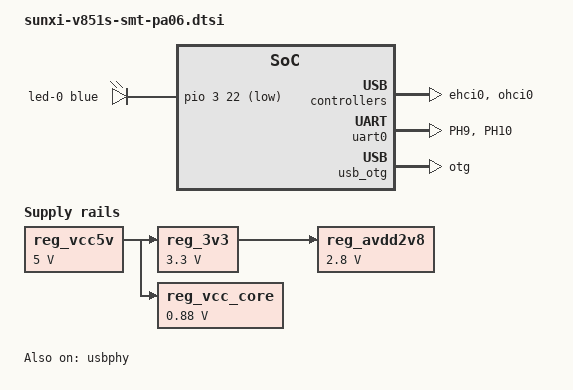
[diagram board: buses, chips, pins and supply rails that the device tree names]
// SPDX-License-Identifier: (GPL-2.0+ OR MIT)
// Copyright (C) 2022 Arm Ltd.
/*
 * Common peripherals and configurations for MangoPi MQ-R boards.
 */

#include <dt-bindings/gpio/gpio.h>
#include <dt-bindings/leds/common.h>

/ {
	aliases {
		serial0 = &uart0;
	};

	chosen {
		stdout-path = "serial0:115200n8";
	};

	leds {
		compatible = "gpio-leds";

		led-0 {
			color = <LED_COLOR_ID_BLUE>;
			function = LED_FUNCTION_STATUS;
			gpios = <&pio 3 22 GPIO_ACTIVE_LOW>; /* PD22 */
		};
	};

	/* board wide 5V supply directly from the USB-C socket */
	reg_vcc5v: regulator-5v {
		compatible = "regulator-fixed";
		regulator-name = "vcc-5v";
		regulator-min-microvolt = <5000000>;
		regulator-max-microvolt = <5000000>;
		regulator-always-on;
	};

	/* SY8008 DC/DC regulator on the board */
	reg_3v3: regulator-3v3 {
		compatible = "regulator-fixed";
		regulator-name = "vcc-3v3";
		regulator-min-microvolt = <3300000>;
		regulator-max-microvolt = <3300000>;
		vin-supply = <&reg_vcc5v>;
	};

	/* SY8008 DC/DC regulator on the board, also supplying VDD-SYS */
	reg_vcc_core: regulator-core {
		compatible = "regulator-fixed";
		regulator-name = "vcc-core";
		regulator-min-microvolt = <880000>;
		regulator-max-microvolt = <880000>;
		vin-supply = <&reg_vcc5v>;
	};

	/* XC6206 LDO on the board */
	reg_avdd2v8: regulator-avdd {
		compatible = "regulator-fixed";
		regulator-name = "avdd2v8";
		regulator-min-microvolt = <2800000>;
		regulator-max-microvolt = <2800000>;
		vin-supply = <&reg_3v3>;
	};
};

&dcxo {
	clock-frequency = <24000000>;
};

&ehci0 {
	status = "okay";
};

&ohci0 {
	status = "okay";
};

&pio {
	vcc-pb-supply = <&reg_3v3>;
	vcc-pd-supply = <&reg_3v3>;
	vcc-pe-supply = <&reg_avdd2v8>;
	vcc-pf-supply = <&reg_3v3>;
	vcc-pg-supply = <&reg_3v3>;

	uart0_ph_pins: uart0-ph-pins {
		pins = "PH9", "PH10";
		function = "uart0";
	};
};

&uart0 {
	pinctrl-names = "default";
	pinctrl-0 = <&uart0_ph_pins>;
	status = "okay";
};

/* The USB-C socket has its CC pins pulled to GND, so is hardwired as a UFP. */
&usb_otg {
	dr_mode = "otg";
	status = "okay";
};

&usbphy {
	usb1_vbus-supply = <&reg_vcc5v>;
	status = "okay";
};
